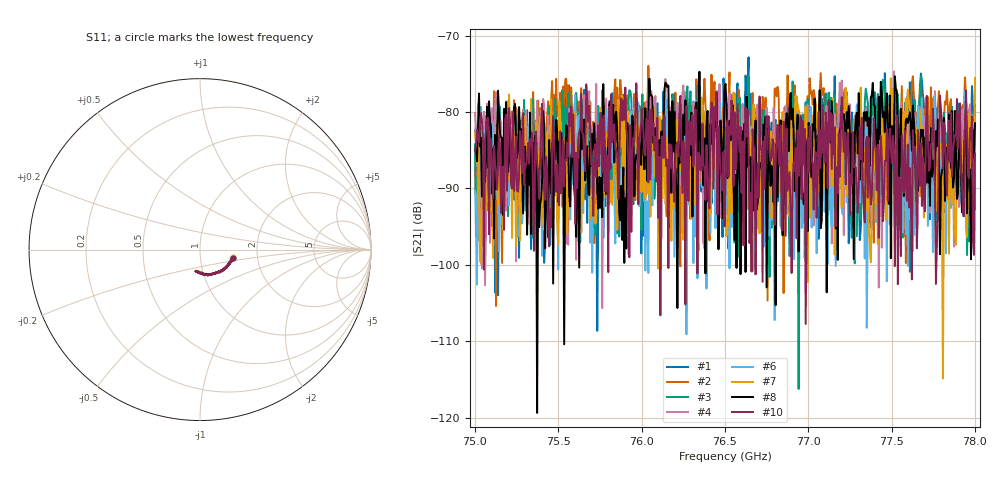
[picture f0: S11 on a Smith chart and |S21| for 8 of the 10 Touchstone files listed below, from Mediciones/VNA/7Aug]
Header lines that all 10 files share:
# Hz S MA R 50
! CMT, C4420, 21421029, 25.1.2/3
! Data: Format (Calibration Info)
! Freq	S33:Mag/Ang(F2)	S43:Mag/Ang(F2)	S34:Mag/Ang(F2)	S44:Mag/Ang(F2)
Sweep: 75 GHz to 78 GHz
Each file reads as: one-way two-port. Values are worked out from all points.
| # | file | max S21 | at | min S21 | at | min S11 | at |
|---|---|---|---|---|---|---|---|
| 1 | abs1.s2p | -72.85 dB | 76.641 GHz | -108.7 dB | 75.733 GHz | -17.9 dB | 77.988 GHz |
| 2 | abs2.s2p | -73.97 dB | 76.04 GHz | -105.4 dB | 75.126 GHz | -18.1 dB | 77.976 GHz |
| 3 | abs3.s2p | -75.33 dB | 77.675 GHz | -116.2 dB | 76.942 GHz | -17.9 dB | 77.952 GHz |
| 4 | abs20deg1.s2p | -74.69 dB | 77.513 GHz | -105.7 dB | 75.764 GHz | -18.0 dB | 77.988 GHz |
| 5 | abs20deg2.s2p | -75.51 dB | 77.483 GHz | -107.8 dB | 75.962 GHz | -17.9 dB | 77.988 GHz |
| 6 | abs20deg4.s2p | -77.29 dB | 77.94 GHz | -109.1 dB | 76.269 GHz | -17.9 dB | 77.97 GHz |
| 7 | abs20deg6.s2p | -75.58 dB | 78 GHz | -114.9 dB | 77.808 GHz | -18.0 dB | 77.988 GHz |
| 8 | abs hold top.s2p | -74.74 dB | 76.347 GHz | -119.4 dB | 75.373 GHz | -17.9 dB | 77.988 GHz |
| 9 | abstop.s2p | -72.54 dB | 77.2 GHz | -107.9 dB | 75.09 GHz | -18.1 dB | 77.994 GHz |
| 10 | Reflectioncontrol20deg.s2p | -76.26 dB | 75.968 GHz | -107.7 dB | 76.984 GHz | -18.0 dB | 77.976 GHz |
